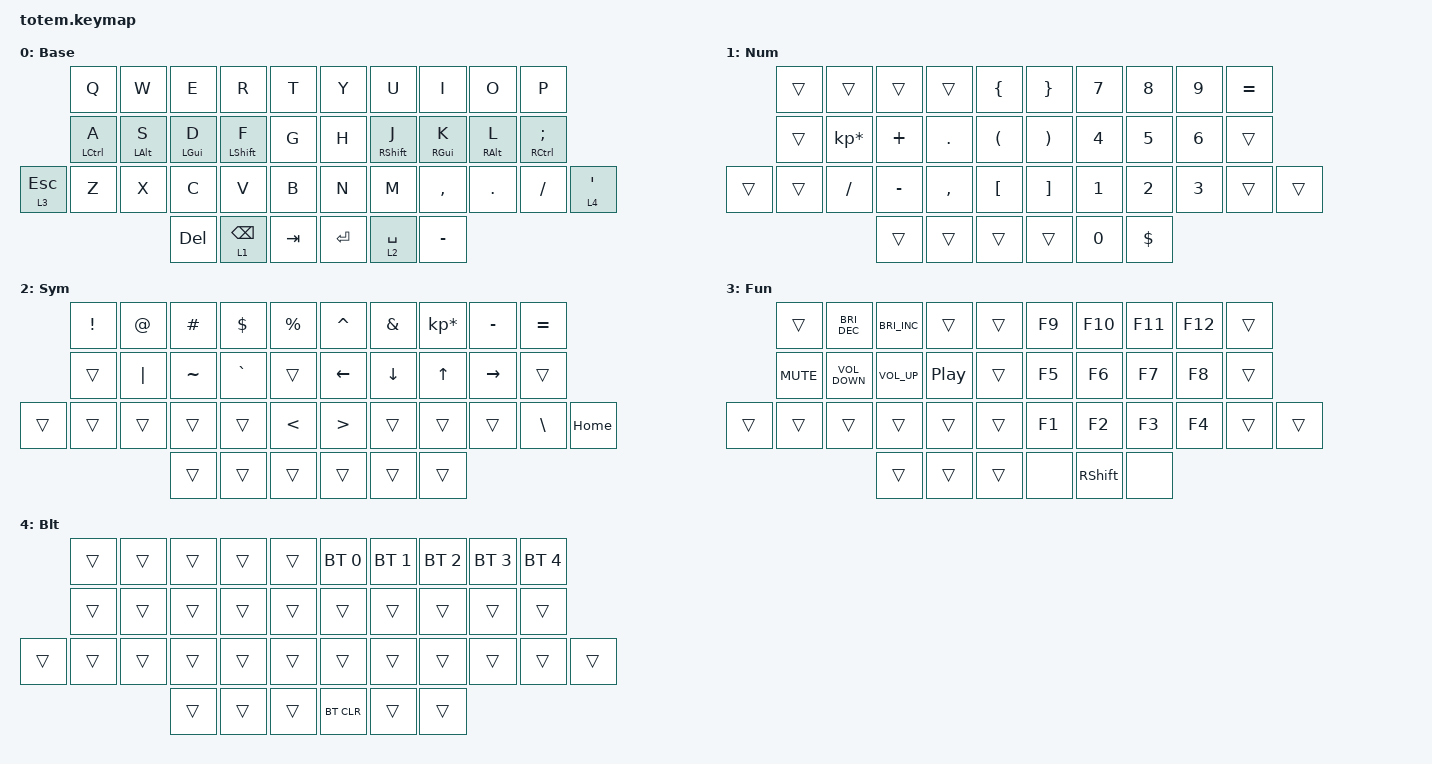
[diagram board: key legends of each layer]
//
//                                                        ▀▀▀▀▀     ▀▀▀▀▀          ▀▀█▀▀
//                                                        ▄▀▀▀▄  ▄  ▄▀▀▀▄  ▄  ▄▀▀▀▄  █  ▄▀▀▀▄
//                                                        █   █  █  █   █  █  █   █  █  █   █
//                                                         ▀▀▀   █   ▀▀▀   █   ▀▀▀   ▀   ▀▀▀
//                                                               █      ▄▄▄█▄▄▄    █   █  
//                                                               ▀      █  █  █     █▄█
//                                                             ▀▀▀▀▀    █  █  █      ▀
//                                                                      ▀  ▀  ▀
//
// ▄▄▄▄▄▄▄▄▄▄▄▄▄▄▄▄▄▄▄▄▄▄▄▄▄▄▄▄▄▄▄▄▄▄▄▄▄▄▄▄▄▄▄▄▄▄▄▄▄▄▄▄▄▄▄▄▄▄▄▄▄▄▄▄▄▄▄▄▄▄▄▄▄▄▄▄▄▄▄▄▄▄▄▄▄▄▄▄▄▄▄▄▄▄▄▄▄▄▄▄▄▄▄▄▄▄▄▄▄▄▄▄▄▄▄▄▄▄▄▄▄▄▄▄▄▄▄▄▄▄▄▄▄▄▄▄▄▄▄▄▄▄▄▄▄▄▄▄▄

#include <behaviors.dtsi>
#include <dt-bindings/zmk/bt.h>
#include <dt-bindings/zmk/keys.h>

#define Base        0
#define Num         1
#define Sym         2
#define Fun         3
#define Blt         4

&mt {
    quick-tap-ms = <100>;
    global-quick-tap;
    flavor = "tap-preferred";
    tapping-term-ms = <170>;
};

&lt {
    tapping-term-ms = <240>;
    flavor = "balanced";
    quick-tap-ms = <150>;
};

/ {
    behaviors {
        hm: homerow_mods {
            compatible = "zmk,behavior-hold-tap";
            label = "HOMEROW_MODS";
            #binding-cells = <2>;
            flavor = "tap-preferred";
            tapping-term-ms = <200>;
            quick-tap-ms = <125>;
            global-quick-tap;
            bindings = <&kp>, <&kp>;
        };
    };

    combos { compatible = "zmk,combos"; };

    keymap {
        compatible = "zmk,keymap";

        Base {
            display-name = "Base";
            bindings = <
              &kp Q       &kp W       &kp E          &kp R         &kp T        &kp Y    &kp U        &kp I        &kp O       &kp P
              &hm LCTRL A  &hm LALT S  &hm LGUI D    &hm LSHIFT F  &kp G        &kp H    &hm RSHFT J  &hm RGUI K  &hm RALT L  &hm RCTRL SEMICOLON
&lt 3 ESCAPE  &kp Z       &kp X       &kp C          &kp V         &kp B        &kp N    &kp M        &kp COMMA    &kp DOT     &kp SLASH           &lt 4 APOSTROPHE
                                      &kp DEL        &lt 1 BSPC    &kp TAB      &kp RET  &lt 2 SPACE  &kp MINUS
            >;
        };
        Num {
            display-name = "Num";
            bindings = <
              &trans     &trans            &trans     &trans      &kp LBRC    &kp RBRC   &kp NUMBER_7  &kp NUMBER_8  &kp NUMBER_9  &kp EQUAL
              &trans     &kp KP_MULTIPLY   &kp PLUS   &kp DOT     &kp LPAR    &kp RPAR   &kp NUMBER_4  &kp NUMBER_5  &kp NUMBER_6  &trans
&trans        &trans     &kp SLASH         &kp MINUS  &kp COMMA   &kp LBKT    &kp RBKT   &kp NUMBER_1  &kp NUMBER_2  &kp NUMBER_3  &trans  &trans
                                   &trans     &trans      &trans      &trans  &kp NUMBER_0        &kp DOLLAR
            >;
        };

        Sym {
            display-name = "Sym";
            bindings = <
                &kp EXCL  &kp AT   &kp HASH  &kp DOLLAR  &kp PERCENT    &kp CARET  &kp AMPERSAND  &kp KP_ASTERISK  &kp MINUS  &kp EQUAL
                &trans    &kp PIPE &kp TILDE &kp GRAVE   &trans         &kp LEFT   &kp DOWN       &kp UP_ARROW     &kp RIGHT  &trans
&trans          &trans    &trans   &trans    &trans      &kp LT         &kp GT     &trans         &trans           &trans     &kp BACKSLASH  &kp HOME
                                   &trans    &trans      &trans         &trans     &trans         &trans
            >;
        };

        Fun {
            display-name = "Fun";
            bindings = <
           &trans       &kp C_BRIGHTNESS_DEC  &kp C_BRIGHTNESS_INC  &trans             &trans    &kp F9   &kp F10          &kp F11  &kp F12   &trans
           &kp K_MUTE   &kp C_VOLUME_DOWN     &kp C_VOLUME_UP       &kp C_PLAY_PAUSE   &trans    &kp F5   &kp F6           &kp F7   &kp F8    &trans
&trans     &trans       &trans                &trans                &trans             &trans    &kp F1   &kp F2           &kp F3   &kp F4    &trans  &trans
                                              &trans                &trans             &trans    &none    &kp RIGHT_SHIFT  &none
            >;
        };

        Blt {
            display-name = "Blt";
            bindings = <
          &trans       &trans    &trans    &trans     &trans    &bt BT_SEL 0   &bt BT_SEL 1   &bt BT_SEL 2   &bt BT_SEL 3   &bt BT_SEL 4
          &trans       &trans    &trans    &trans     &trans    &trans         &trans         &trans         &trans         &trans
&trans    &trans       &trans    &trans    &trans     &trans    &trans         &trans         &trans         &trans         &trans         &trans
                                 &trans    &trans     &trans    &bt BT_CLR        &trans         &trans
            >;
        };
    };
};
